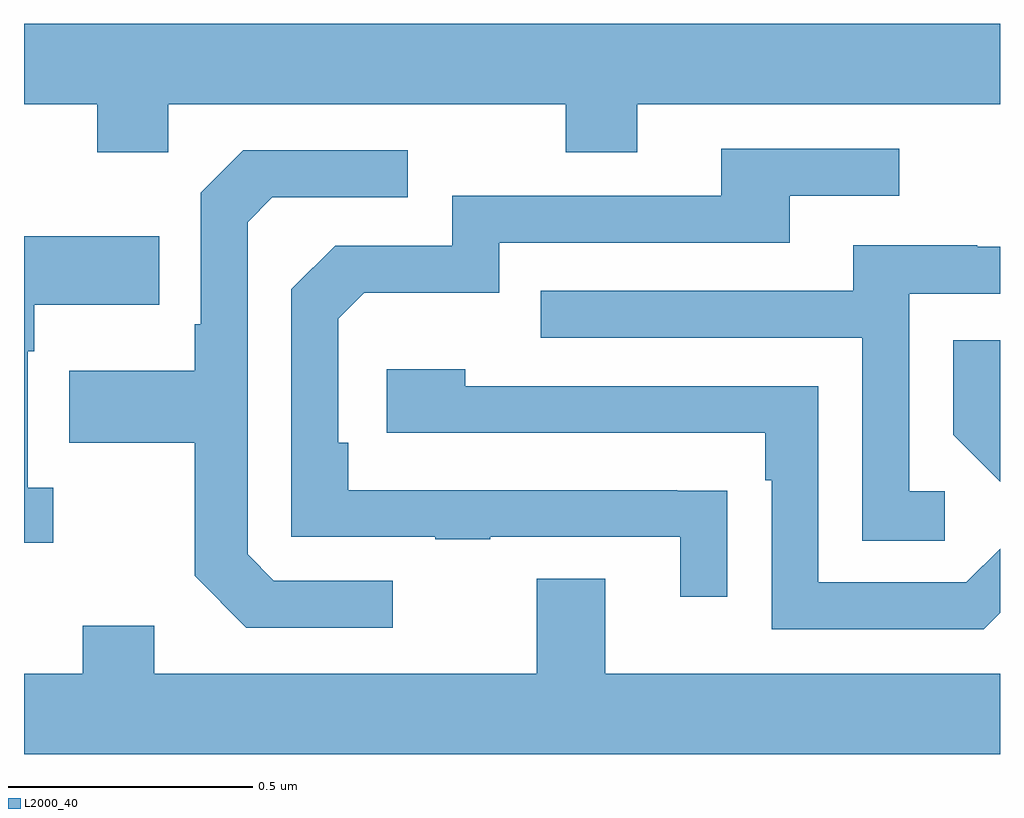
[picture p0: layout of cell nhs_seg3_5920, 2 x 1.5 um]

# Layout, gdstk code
import gdstk
lib = gdstk.Library(unit=1e-6, precision=1e-09)
def P(c, l, *ps):  # polygons
    for p in ps: c.add(gdstk.Polygon(p, *l))
L2000_40 = (2000, 40)

nhs_seg3_5920 = lib.new_cell('nhs_seg3_5920')
P(nhs_seg3_5920, L2000_40, [(184.296,744.872),(185.11,744.872),(185.11,744.773),(185.257,744.773),(185.257,744.872),(186,744.872),(186,745.036),(184,745.036),(184,744.872),(184.15,744.872),(184.15,744.773),(184.296,744.773)],
  [(185.441,744.08),(185.339,744.08),(185.339,744.081),(184.664,744.081),(184.664,744.178),(184.644,744.178),(184.644,744.432),(184.697,744.485),(184.974,744.485),(184.974,744.588),(185.569,744.588),(185.569,744.684),(185.794,744.684),(185.794,744.78),(185.429,744.78),(185.429,744.684),(184.878,744.684),(184.878,744.582),(184.638,744.582),(184.548,744.492),(184.548,743.985),(184.843,743.985),(184.843,743.98),(184.955,743.98),(184.955,743.985),(185.345,743.985),(185.345,743.862),(185.441,743.862)],
  [(184.756,743.895),(184.512,743.895),(184.458,743.949),(184.458,744.63),(184.509,744.681),(184.786,744.681),(184.786,744.777),(184.449,744.777),(184.362,744.69),(184.362,744.421),(184.35,744.421),(184.35,744.325),(184.093,744.325),(184.093,744.178),(184.35,744.178),(184.35,743.905),(184.455,743.799),(184.756,743.799)],
  [(184.06,744.086),(184.008,744.086),(184.008,744.365),(184.021,744.365),(184.021,744.461),(184.277,744.461),(184.277,744.601),(184,744.601),(184,743.973),(184.06,743.973)],
  [(185.887,744.078),(185.814,744.078),(185.814,744.483),(186,744.483),(186,744.579),(185.953,744.579),(185.953,744.583),(185.699,744.583),(185.699,744.489),(185.059,744.489),(185.059,744.393),(185.718,744.393),(185.718,743.977),(185.887,743.977)],
  [(186,744.388),(185.904,744.388),(185.904,744.194),(186,744.098)],
  [(186,743.829),(186,743.961),(185.931,743.892),(185.628,743.892),(185.628,744.294),(184.904,744.294),(184.904,744.328),(184.743,744.328),(184.743,744.198),(185.519,744.198),(185.519,744.101),(185.532,744.101),(185.532,743.796),(185.967,743.796)],
  [(186,743.704),(185.191,743.704),(185.191,743.899),(185.051,743.899),(185.051,743.704),(184.267,743.704),(184.267,743.803),(184.12,743.803),(184.12,743.704),(184,743.704),(184,743.54),(186,743.54)])

lib.write_gds('nhs_seg3_5920.gds')
